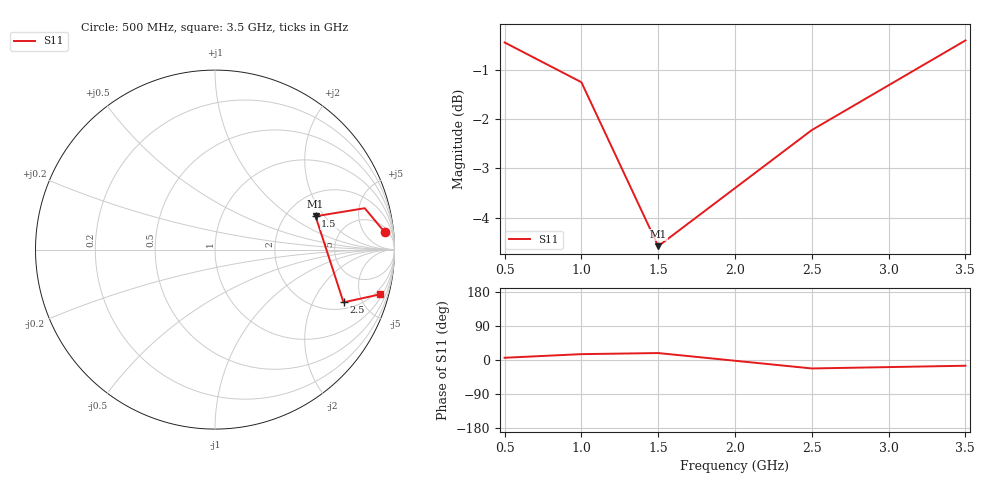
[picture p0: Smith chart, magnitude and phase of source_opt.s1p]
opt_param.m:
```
of = [0.5e9 1e9 1.5e9 2.5e9 3.5e9];
zl = [20+5.2j, 17.6+6.66j, 16.8+3.2j, 8.02+4.32j, 5.85-0.51j];
zs = [7.75+15.5j, 3.11+5.72j, 2.86+1.63j, 2.4-3.52j, 1.31-7.3j];
zro = of./of;
sm = zeros(1,1,length(of));
sm(1,1,:) = zs;
lm = zeros(1,1,length(of));
lm(1,1,:) = zl;
%plot(real(zl), imag(zl), real(zs), imag(zs));
write_touchstone('z', of, sm, 'source_opt.s1p', 1, 'optimized zs for cgh40025')
write_touchstone('z', of, lm, 'load_opt.s1p', 1, 'optimized zl for cgh40025')
```
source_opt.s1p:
#  Hz  Z  RI  R  1
! optimized zs for cgh40025
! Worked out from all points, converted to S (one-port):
!   5 points, 500 MHz to 3.5 GHz, reference 1 ohm
!   lowest |S11| = -4.6 dB at 1.5 GHz (marker M1), VSWR 3.88, Z = 2.86 + j1.63 ohm
!   |S11| at or under -10 dB: nowhere
!   S11 on the Smith chart (normalised r, x): 500 MHz: 8, +16; 1.5 GHz: 2.86, +1.63; 2.5 GHz: 2.40, -3.52; 3.5 GHz: 1.31, -7.30
5e8  7.75 15.5
1e9  3.11 5.72
1.5e9  2.86 1.63
2.5e9  2.4 -3.52
3.5e9  1.31 -7.3
